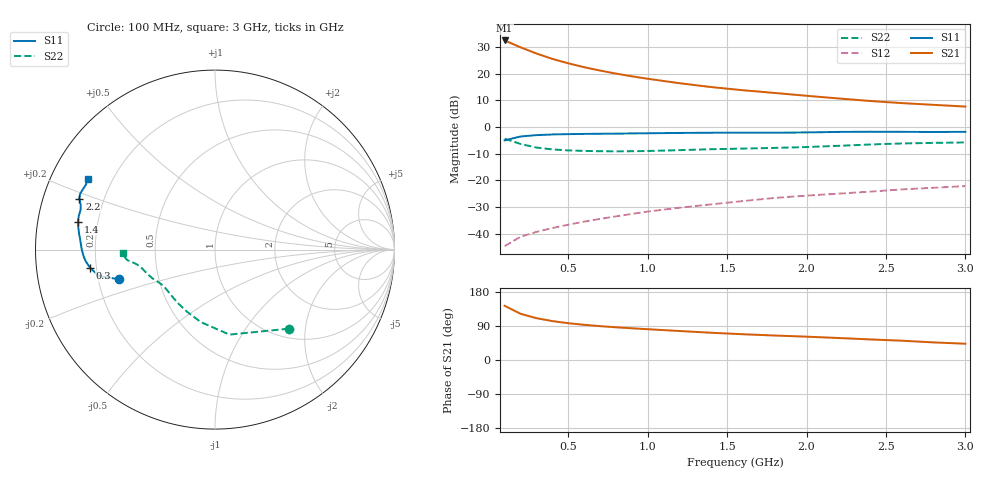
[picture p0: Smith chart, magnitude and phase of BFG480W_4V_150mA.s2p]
! Filename: 4150BFG480.001
! Title: BFG480W
! Bias: Vce=4V; Ic=150mA
! Company: Philips Semiconductors NL
! User: Quality&Reliability T&D
! Measure time: 10 Nov 1999 / 12:05:01
#  MHz  S  MA  R 50
! Freq  S11  S21  S12  S22  :
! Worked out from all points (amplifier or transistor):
!   20 points, 100 MHz to 3 GHz, reference 50 ohm
!   highest |S21| = 32.4 dB at 100 MHz (marker M1)
!   |S21| within 3 dB of that: start of sweep to 219.1 MHz
!   unconditionally stable (mu >= 1): 414.3 MHz to end of sweep
!   at 400 MHz: K = 0.99, MSG = 31.7 dB, |S12| = -37.9 dB
!   at 1.2 GHz: K = 1.16, MAG = 20.9 dB, |S12| = -30.3 dB
!   at 3 GHz: K = 1.10, MAG = 12.9 dB, |S12| = -22.1 dB
!   S11 on the Smith chart (normalised r, x): 100 MHz: 0.29, -0.14; 300 MHz: 0.18, -0.07; 1.4 GHz: 0.13, +0.10; 2.2 GHz: 0.11, +0.18; 3 GHz: 0.11, +0.26
100  0.5597 -162.8  41.66 143.1  0.005854 65.0  0.6024 -47.0
200  0.6631 -167.2  31.04 122.0  0.008791 59.3  0.4804 -80.3
300  0.7026 -171.6  23.75 110.4  0.01081 60.0  0.4119 -100.9
400  0.7229 -174.8  18.85 102.7  0.01278 62.9  0.3796 -114.3
500  0.7339 -177.3  15.57 97.2  0.01476 65.8  0.364 -123.6
600  0.7408 -179.5  13.16 92.9  0.01684 67.9  0.3558 -130.2
700  0.7457 178.5  11.39 89.4  0.01896 70.2  0.3513 -135.3
800  0.7506 176.7  9.996 86.3  0.02114 71.8  0.3497 -139.4
900  0.7557 175.0  8.882 83.7  0.02351 73.5  0.3508 -143.0
1000  0.7619 173.5  7.994 81.2  0.02602 74.5  0.3545 -146.3
1200  0.7723 170.7  6.595 76.5  0.03071 75.9  0.3679 -151.5
1400  0.7791 168.4  5.584 71.9  0.03551 76.7  0.3829 -155.2
1600  0.782 166.1  4.872 68.0  0.04095 77.2  0.3937 -158.3
1800  0.7808 163.6  4.331 64.6  0.04684 77.6  0.4051 -161.7
2000  0.7893 161.5  3.836 61.6  0.05175 78.0  0.4208 -165.8
2200  0.8071 159.4  3.422 58.1  0.05638 77.8  0.443 -169.3
2400  0.8136 157.6  3.064 54.3  0.06141 77.1  0.4694 -171.6
2600  0.8101 155.9  2.797 50.9  0.06773 76.4  0.4911 -173.1
2800  0.8053 153.5  2.594 46.4  0.0726 74.8  0.5032 -174.9
3000  0.8098 150.8  2.409 43.0  0.07808 73.9  0.513 -177.7
